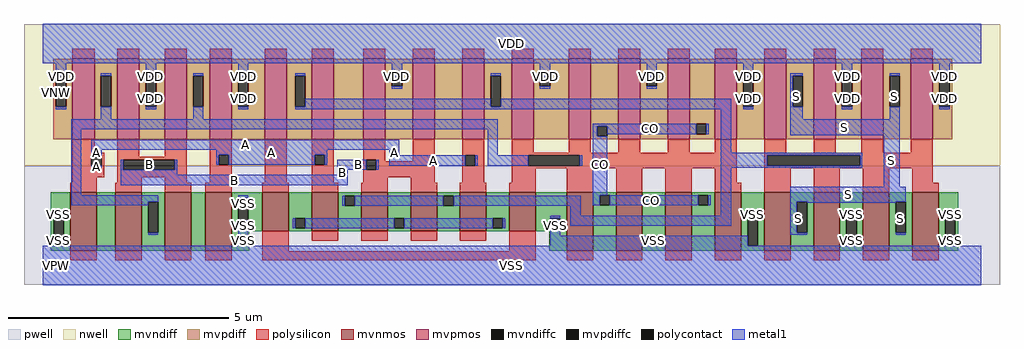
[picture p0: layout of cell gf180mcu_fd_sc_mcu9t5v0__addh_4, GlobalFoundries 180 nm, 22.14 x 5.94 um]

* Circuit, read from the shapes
.subckt gf180mcu_fd_sc_mcu9t5v0__addh_4 A B CO S VDD VNW VPW VSS
XM1 n1 A VSS VPW nfet_06v0 w=1.32u l=0.6u
XM2 n2 B n1 VPW nfet_06v0 w=1.32u l=0.6u
XM3 n3 B n2 VPW nfet_06v0 w=1.32u l=0.6u
XM4 VSS A n3 VPW nfet_06v0 w=1.32u l=0.6u
XM5 n4 n2 VSS VPW nfet_06v0 w=0.88u l=0.6u m=2
XM6 n5 A n4 VPW nfet_06v0 w=0.88u l=0.6u m=2
XM7 n4 B n5 VPW nfet_06v0 w=0.88u l=0.6u m=2
XM8 CO n2 VSS VPW nfet_06v0 w=1.32u l=0.6u m=4
XM9 S n5 VSS VPW nfet_06v0 w=1.32u l=0.6u m=4
XM10 n2 A VDD VNW pfet_06v0 w=1.83u l=0.5u m=2
XM11 VDD B n2 VNW pfet_06v0 w=1.83u l=0.5u m=2
XM12 n5 n2 VDD VNW pfet_06v0 w=1.83u l=0.5u m=2
XM13 n6 A n5 VNW pfet_06v0 w=1.83u l=0.5u
XM14 VDD B n6 VNW pfet_06v0 w=1.83u l=0.5u
XM15 n7 B VDD VNW pfet_06v0 w=1.83u l=0.5u
XM16 n5 A n7 VNW pfet_06v0 w=1.83u l=0.5u
XM17 CO n2 VDD VNW pfet_06v0 w=1.83u l=0.5u m=4
XM18 S n5 VDD VNW pfet_06v0 w=1.83u l=0.5u m=4
.ends

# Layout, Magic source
magic
tech gf180mcuD
magscale 1 10
<< nwell >>
rect -86 453 4342 1094
<< pwell >>
rect -86 -86 4342 453
<< mvnmos >>
rect 124 68 244 332
rect 328 68 448 332
rect 552 68 672 332
rect 736 68 856 332
rect 996 156 1116 332
rect 1220 156 1340 332
rect 1444 156 1564 332
rect 1668 156 1788 332
rect 1892 156 2012 332
rect 2116 156 2236 332
rect 2376 68 2496 332
rect 2600 68 2720 332
rect 2824 68 2944 332
rect 3048 68 3168 332
rect 3272 68 3392 332
rect 3496 68 3616 332
rect 3720 68 3840 332
rect 3944 68 4064 332
<< mvpmos >>
rect 134 573 234 939
rect 338 573 438 939
rect 552 573 652 939
rect 756 573 856 939
rect 1006 573 1106 939
rect 1220 573 1320 939
rect 1454 573 1554 939
rect 1678 573 1778 939
rect 1902 573 2002 939
rect 2126 573 2226 939
rect 2386 573 2486 939
rect 2610 573 2710 939
rect 2834 573 2934 939
rect 3048 573 3148 939
rect 3272 573 3372 939
rect 3496 573 3596 939
rect 3712 573 3812 939
rect 3938 573 4038 939
<< mvndiff >>
rect 36 229 124 332
rect 36 89 49 229
rect 95 89 124 229
rect 36 68 124 89
rect 244 68 328 332
rect 448 290 552 332
rect 448 150 477 290
rect 523 150 552 290
rect 448 68 552 150
rect 672 68 736 332
rect 856 308 996 332
rect 856 168 885 308
rect 931 168 996 308
rect 856 156 996 168
rect 1116 215 1220 332
rect 1116 169 1145 215
rect 1191 169 1220 215
rect 1116 156 1220 169
rect 1340 317 1444 332
rect 1340 271 1369 317
rect 1415 271 1444 317
rect 1340 156 1444 271
rect 1564 215 1668 332
rect 1564 169 1593 215
rect 1639 169 1668 215
rect 1564 156 1668 169
rect 1788 317 1892 332
rect 1788 271 1817 317
rect 1863 271 1892 317
rect 1788 156 1892 271
rect 2012 215 2116 332
rect 2012 169 2041 215
rect 2087 169 2116 215
rect 2012 156 2116 169
rect 2236 214 2376 332
rect 2236 168 2301 214
rect 2347 168 2376 214
rect 2236 156 2376 168
rect 856 68 936 156
rect 2296 68 2376 156
rect 2496 319 2600 332
rect 2496 273 2525 319
rect 2571 273 2600 319
rect 2496 68 2600 273
rect 2720 135 2824 332
rect 2720 89 2749 135
rect 2795 89 2824 135
rect 2720 68 2824 89
rect 2944 319 3048 332
rect 2944 273 2973 319
rect 3019 273 3048 319
rect 2944 68 3048 273
rect 3168 229 3272 332
rect 3168 89 3197 229
rect 3243 89 3272 229
rect 3168 68 3272 89
rect 3392 290 3496 332
rect 3392 150 3421 290
rect 3467 150 3496 290
rect 3392 68 3496 150
rect 3616 229 3720 332
rect 3616 89 3645 229
rect 3691 89 3720 229
rect 3616 68 3720 89
rect 3840 290 3944 332
rect 3840 150 3869 290
rect 3915 150 3944 290
rect 3840 68 3944 150
rect 4064 229 4152 332
rect 4064 89 4093 229
rect 4139 89 4152 229
rect 4064 68 4152 89
<< mvpdiff >>
rect 46 861 134 939
rect 46 721 59 861
rect 105 721 134 861
rect 46 573 134 721
rect 234 861 338 939
rect 234 721 263 861
rect 309 721 338 861
rect 234 573 338 721
rect 438 861 552 939
rect 438 721 467 861
rect 513 721 552 861
rect 438 573 552 721
rect 652 861 756 939
rect 652 721 681 861
rect 727 721 756 861
rect 652 573 756 721
rect 856 861 1006 939
rect 856 721 885 861
rect 931 721 1006 861
rect 856 573 1006 721
rect 1106 861 1220 939
rect 1106 721 1145 861
rect 1191 721 1220 861
rect 1106 573 1220 721
rect 1320 573 1454 939
rect 1554 859 1678 939
rect 1554 813 1583 859
rect 1629 813 1678 859
rect 1554 573 1678 813
rect 1778 573 1902 939
rect 2002 861 2126 939
rect 2002 721 2031 861
rect 2077 721 2126 861
rect 2002 573 2126 721
rect 2226 859 2386 939
rect 2226 813 2255 859
rect 2301 813 2386 859
rect 2226 573 2386 813
rect 2486 632 2610 939
rect 2486 586 2515 632
rect 2561 586 2610 632
rect 2486 573 2610 586
rect 2710 859 2834 939
rect 2710 813 2739 859
rect 2785 813 2834 859
rect 2710 573 2834 813
rect 2934 643 3048 939
rect 2934 597 2963 643
rect 3009 597 3048 643
rect 2934 573 3048 597
rect 3148 861 3272 939
rect 3148 721 3177 861
rect 3223 721 3272 861
rect 3148 573 3272 721
rect 3372 861 3496 939
rect 3372 721 3401 861
rect 3447 721 3496 861
rect 3372 573 3496 721
rect 3596 861 3712 939
rect 3596 721 3625 861
rect 3671 721 3712 861
rect 3596 573 3712 721
rect 3812 861 3938 939
rect 3812 721 3841 861
rect 3887 721 3938 861
rect 3812 573 3938 721
rect 4038 861 4126 939
rect 4038 721 4067 861
rect 4113 721 4126 861
rect 4038 573 4126 721
<< mvndiffc >>
rect 49 89 95 229
rect 477 150 523 290
rect 885 168 931 308
rect 1145 169 1191 215
rect 1369 271 1415 317
rect 1593 169 1639 215
rect 1817 271 1863 317
rect 2041 169 2087 215
rect 2301 168 2347 214
rect 2525 273 2571 319
rect 2749 89 2795 135
rect 2973 273 3019 319
rect 3197 89 3243 229
rect 3421 150 3467 290
rect 3645 89 3691 229
rect 3869 150 3915 290
rect 4093 89 4139 229
<< mvpdiffc >>
rect 59 721 105 861
rect 263 721 309 861
rect 467 721 513 861
rect 681 721 727 861
rect 885 721 931 861
rect 1145 721 1191 861
rect 1583 813 1629 859
rect 2031 721 2077 861
rect 2255 813 2301 859
rect 2515 586 2561 632
rect 2739 813 2785 859
rect 2963 597 3009 643
rect 3177 721 3223 861
rect 3401 721 3447 861
rect 3625 721 3671 861
rect 3841 721 3887 861
rect 4067 721 4113 861
<< polysilicon >>
rect 134 939 234 983
rect 338 939 438 983
rect 552 939 652 983
rect 756 939 856 983
rect 1006 939 1106 983
rect 1220 939 1320 983
rect 1454 939 1554 983
rect 1678 939 1778 983
rect 1902 939 2002 983
rect 2126 939 2226 983
rect 2386 939 2486 983
rect 2610 939 2710 983
rect 2834 939 2934 983
rect 3048 939 3148 983
rect 3272 939 3372 983
rect 3496 939 3596 983
rect 3712 939 3812 983
rect 3938 939 4038 983
rect 134 513 234 573
rect 134 500 279 513
rect 134 454 220 500
rect 266 454 279 500
rect 134 401 279 454
rect 338 493 438 573
rect 552 493 652 573
rect 338 480 652 493
rect 338 434 365 480
rect 599 434 652 480
rect 338 401 652 434
rect 134 376 244 401
rect 338 376 448 401
rect 124 332 244 376
rect 328 332 448 376
rect 552 376 652 401
rect 756 503 856 573
rect 756 457 797 503
rect 843 457 856 503
rect 756 376 856 457
rect 1006 376 1106 573
rect 1220 503 1320 573
rect 1220 457 1233 503
rect 1279 457 1320 503
rect 1220 376 1320 457
rect 1454 480 1554 573
rect 1454 434 1467 480
rect 1513 473 1554 480
rect 1678 473 1778 573
rect 1513 434 1778 473
rect 1454 401 1778 434
rect 1454 376 1564 401
rect 552 332 672 376
rect 736 332 856 376
rect 996 332 1116 376
rect 1220 332 1340 376
rect 1444 332 1564 376
rect 1668 376 1778 401
rect 1902 500 2002 573
rect 1902 454 1915 500
rect 1961 454 2002 500
rect 1902 376 2002 454
rect 2126 513 2226 573
rect 2386 513 2486 573
rect 2610 513 2710 573
rect 2834 513 2934 573
rect 3048 513 3148 573
rect 2126 500 3148 513
rect 2126 454 2201 500
rect 2435 454 3148 500
rect 2126 441 3148 454
rect 2126 376 2236 441
rect 1668 332 1788 376
rect 1892 332 2012 376
rect 2116 332 2236 376
rect 2376 332 2496 441
rect 2600 332 2720 441
rect 2824 332 2944 441
rect 3048 376 3148 441
rect 3272 513 3372 573
rect 3496 513 3596 573
rect 3712 513 3812 573
rect 3938 513 4038 573
rect 3272 500 4038 513
rect 3272 454 3285 500
rect 3707 454 4038 500
rect 3272 441 4038 454
rect 3048 332 3168 376
rect 3272 332 3392 441
rect 3496 332 3616 441
rect 3720 332 3840 441
rect 3944 376 4038 441
rect 3944 332 4064 376
rect 124 24 244 68
rect 328 24 448 68
rect 552 24 672 68
rect 736 24 856 68
rect 996 64 1116 156
rect 1220 112 1340 156
rect 1444 112 1564 156
rect 1668 112 1788 156
rect 1892 112 2012 156
rect 2116 64 2236 156
rect 996 24 2236 64
rect 2376 24 2496 68
rect 2600 24 2720 68
rect 2824 24 2944 68
rect 3048 24 3168 68
rect 3272 24 3392 68
rect 3496 24 3616 68
rect 3720 24 3840 68
rect 3944 24 4064 68
<< polycontact >>
rect 220 454 266 500
rect 365 434 599 480
rect 797 457 843 503
rect 1233 457 1279 503
rect 1467 434 1513 480
rect 1915 454 1961 500
rect 2201 454 2435 500
rect 3285 454 3707 500
<< metal1 >>
rect 0 918 4256 1098
rect 59 861 105 918
rect 59 710 105 721
rect 263 861 309 872
rect 263 664 309 721
rect 467 861 513 918
rect 467 710 513 721
rect 681 861 727 872
rect 681 664 727 721
rect 885 861 931 918
rect 885 710 931 721
rect 1145 861 1191 872
rect 1583 859 1629 918
rect 1583 802 1629 813
rect 2031 861 2077 872
rect 1191 721 2031 756
rect 2255 859 2301 918
rect 2255 802 2301 813
rect 2739 859 2785 918
rect 2739 802 2785 813
rect 3177 861 3223 918
rect 2077 721 3122 756
rect 1145 710 3122 721
rect 3177 710 3223 721
rect 3390 861 3447 872
rect 3390 721 3401 861
rect 128 618 2064 664
rect 128 319 174 618
rect 220 526 1616 572
rect 220 500 266 526
rect 786 503 1290 526
rect 220 443 266 454
rect 354 434 365 480
rect 599 434 610 480
rect 786 457 797 503
rect 843 457 1233 503
rect 1279 457 1290 503
rect 1570 500 1616 526
rect 2018 500 2064 618
rect 2494 632 2963 643
rect 2494 586 2515 632
rect 2561 597 2963 632
rect 3009 597 3020 643
rect 354 411 610 434
rect 1336 434 1467 480
rect 1513 434 1524 480
rect 1570 454 1915 500
rect 1961 454 1972 500
rect 2018 454 2201 500
rect 2435 454 2446 500
rect 1336 411 1382 434
rect 354 365 1382 411
rect 2494 319 2561 586
rect 3076 511 3122 710
rect 3390 664 3447 721
rect 3625 861 3671 918
rect 3625 710 3671 721
rect 3841 861 3887 872
rect 3841 664 3887 721
rect 4067 861 4113 918
rect 4067 710 4113 721
rect 3390 592 3887 664
rect 3076 500 3718 511
rect 3076 454 3285 500
rect 3707 454 3718 500
rect 3076 443 3718 454
rect 128 290 523 319
rect 128 273 477 290
rect 49 229 95 240
rect 0 89 49 90
rect 477 139 523 150
rect 885 308 931 319
rect 1358 271 1369 317
rect 1415 271 1817 317
rect 1863 271 2439 317
rect 2494 273 2525 319
rect 2571 273 2973 319
rect 3019 273 3030 319
rect 2393 227 2439 271
rect 3076 227 3122 443
rect 3815 358 3887 592
rect 3390 290 3915 358
rect 1134 169 1145 215
rect 1191 169 1593 215
rect 1639 169 2041 215
rect 2087 169 2098 215
rect 2301 214 2347 225
rect 885 90 931 168
rect 2393 181 3122 227
rect 3197 229 3243 240
rect 2301 135 2347 168
rect 2301 90 2749 135
rect 95 89 2749 90
rect 2795 89 3197 135
rect 3390 150 3421 290
rect 3467 286 3869 290
rect 3390 139 3467 150
rect 3645 229 3691 240
rect 3243 89 3645 90
rect 3869 139 3915 150
rect 4093 229 4139 240
rect 3691 89 4093 90
rect 4139 89 4256 90
rect 0 -90 4256 89
<< labels >>
flabel metal1 s 220 526 1616 572 0 FreeSans 200 0 0 0 A
port 1 nsew default input
flabel metal1 s 1336 434 1524 480 0 FreeSans 200 0 0 0 B
port 2 nsew default input
flabel metal1 s 2494 597 3020 643 0 FreeSans 200 0 0 0 CO
port 3 nsew default output
flabel metal1 s 3841 664 3887 872 0 FreeSans 200 0 0 0 S
port 4 nsew default output
flabel metal1 s 0 918 4256 1098 0 FreeSans 200 0 0 0 VDD
port 5 nsew power bidirectional abutment
flabel metal1 s 885 240 931 319 0 FreeSans 200 0 0 0 VSS
port 8 nsew ground bidirectional abutment
flabel nwell s 10 734 110 834 0 FreeSans 400 0 0 0 VNW
port 6 nsew power bidirectional
flabel pwell s 10 -50 110 50 0 FreeSans 400 0 0 0 VPW
port 7 nsew ground bidirectional
rlabel metal1 s 1570 500 1616 526 1 A
port 1 nsew default input
rlabel metal1 s 786 500 1290 526 1 A
port 1 nsew default input
rlabel metal1 s 220 500 266 526 1 A
port 1 nsew default input
rlabel metal1 s 1570 457 1972 500 1 A
port 1 nsew default input
rlabel metal1 s 786 457 1290 500 1 A
port 1 nsew default input
rlabel metal1 s 220 457 266 500 1 A
port 1 nsew default input
rlabel metal1 s 1570 454 1972 457 1 A
port 1 nsew default input
rlabel metal1 s 220 454 266 457 1 A
port 1 nsew default input
rlabel metal1 s 220 443 266 454 1 A
port 1 nsew default input
rlabel metal1 s 354 434 610 480 1 B
port 2 nsew default input
rlabel metal1 s 1336 411 1382 434 1 B
port 2 nsew default input
rlabel metal1 s 354 411 610 434 1 B
port 2 nsew default input
rlabel metal1 s 354 365 1382 411 1 B
port 2 nsew default input
rlabel metal1 s 2494 319 2561 597 1 CO
port 3 nsew default output
rlabel metal1 s 2494 273 3030 319 1 CO
port 3 nsew default output
rlabel metal1 s 3390 664 3447 872 1 S
port 4 nsew default output
rlabel metal1 s 3390 592 3887 664 1 S
port 4 nsew default output
rlabel metal1 s 3815 358 3887 592 1 S
port 4 nsew default output
rlabel metal1 s 3390 286 3915 358 1 S
port 4 nsew default output
rlabel metal1 s 3869 139 3915 286 1 S
port 4 nsew default output
rlabel metal1 s 3390 139 3467 286 1 S
port 4 nsew default output
rlabel metal1 s 4067 802 4113 918 1 VDD
port 5 nsew power bidirectional abutment
rlabel metal1 s 3625 802 3671 918 1 VDD
port 5 nsew power bidirectional abutment
rlabel metal1 s 3177 802 3223 918 1 VDD
port 5 nsew power bidirectional abutment
rlabel metal1 s 2739 802 2785 918 1 VDD
port 5 nsew power bidirectional abutment
rlabel metal1 s 2255 802 2301 918 1 VDD
port 5 nsew power bidirectional abutment
rlabel metal1 s 1583 802 1629 918 1 VDD
port 5 nsew power bidirectional abutment
rlabel metal1 s 885 802 931 918 1 VDD
port 5 nsew power bidirectional abutment
rlabel metal1 s 467 802 513 918 1 VDD
port 5 nsew power bidirectional abutment
rlabel metal1 s 59 802 105 918 1 VDD
port 5 nsew power bidirectional abutment
rlabel metal1 s 4067 710 4113 802 1 VDD
port 5 nsew power bidirectional abutment
rlabel metal1 s 3625 710 3671 802 1 VDD
port 5 nsew power bidirectional abutment
rlabel metal1 s 3177 710 3223 802 1 VDD
port 5 nsew power bidirectional abutment
rlabel metal1 s 885 710 931 802 1 VDD
port 5 nsew power bidirectional abutment
rlabel metal1 s 467 710 513 802 1 VDD
port 5 nsew power bidirectional abutment
rlabel metal1 s 59 710 105 802 1 VDD
port 5 nsew power bidirectional abutment
rlabel metal1 s 4093 225 4139 240 1 VSS
port 8 nsew ground bidirectional abutment
rlabel metal1 s 3645 225 3691 240 1 VSS
port 8 nsew ground bidirectional abutment
rlabel metal1 s 3197 225 3243 240 1 VSS
port 8 nsew ground bidirectional abutment
rlabel metal1 s 885 225 931 240 1 VSS
port 8 nsew ground bidirectional abutment
rlabel metal1 s 49 225 95 240 1 VSS
port 8 nsew ground bidirectional abutment
rlabel metal1 s 4093 135 4139 225 1 VSS
port 8 nsew ground bidirectional abutment
rlabel metal1 s 3645 135 3691 225 1 VSS
port 8 nsew ground bidirectional abutment
rlabel metal1 s 3197 135 3243 225 1 VSS
port 8 nsew ground bidirectional abutment
rlabel metal1 s 2301 135 2347 225 1 VSS
port 8 nsew ground bidirectional abutment
rlabel metal1 s 885 135 931 225 1 VSS
port 8 nsew ground bidirectional abutment
rlabel metal1 s 49 135 95 225 1 VSS
port 8 nsew ground bidirectional abutment
rlabel metal1 s 4093 90 4139 135 1 VSS
port 8 nsew ground bidirectional abutment
rlabel metal1 s 3645 90 3691 135 1 VSS
port 8 nsew ground bidirectional abutment
rlabel metal1 s 2301 90 3243 135 1 VSS
port 8 nsew ground bidirectional abutment
rlabel metal1 s 885 90 931 135 1 VSS
port 8 nsew ground bidirectional abutment
rlabel metal1 s 49 90 95 135 1 VSS
port 8 nsew ground bidirectional abutment
rlabel metal1 s 0 -90 4256 90 1 VSS
port 8 nsew ground bidirectional abutment
<< properties >>
string FIXED_BBOX 0 0 4256 1008
string GDS_END 1124644
string GDS_FILE $PDKPATH/libs.ref/gf180mcu_fd_sc_mcu9t5v0/gds/gf180mcu_fd_sc_mcu9t5v0.gds
string GDS_START 1115730
string LEFclass core
string LEFsite GF018hv5v_green_sc9
string LEFsymmetry X Y
<< end >>
